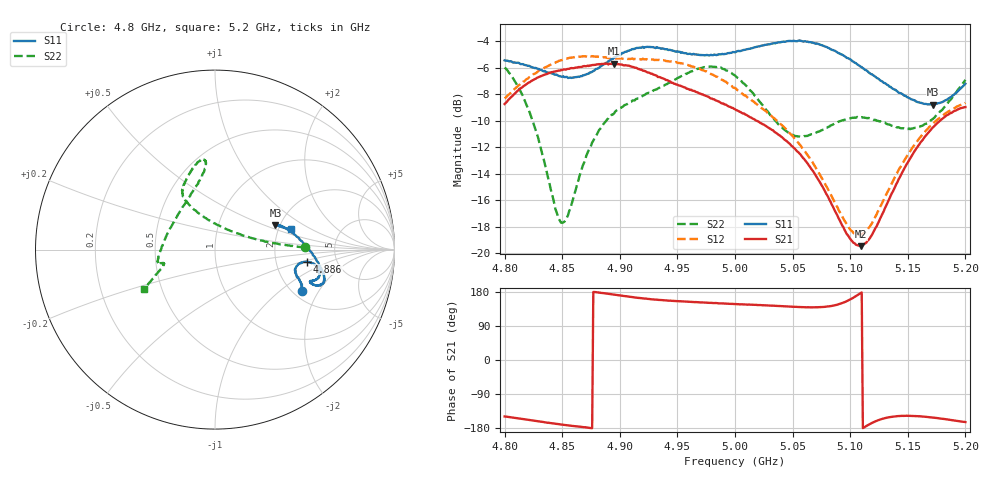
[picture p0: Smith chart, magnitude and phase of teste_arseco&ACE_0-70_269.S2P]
! Network Analyzer HP8722D
! Hewlett-Packard
! Data name: Linha & Wilkinson
! Saver's name: Rodrigo Anjos
! Comments: Teste da utilização de aquisição
! continua pelo VNA HP8722D
! Time and date: 8/5/2025 15:00
!  Frequency  S11  S21  S12  S22
# HZ  S  MA R 50
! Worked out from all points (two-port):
!   401 points, 4.8 GHz to 5.2 GHz, reference 50 ohm
!   highest |S21| = -5.68 dB at 4.895 GHz (marker M1); lowest = -19.5 dB at 5.109 GHz (marker M2)
!   |S21| within 3 dB of the highest: 4.801 GHz to 4.989 GHz (188 MHz wide, 3.84 % of centre)
!   lowest |S11| = -8.8 dB at 5.172 GHz (marker M3), VSWR 2.15, Z = 94.6 + j30 ohm
!   |S11| at or under -10 dB: nowhere
!   |S22| runs from -17.7 to -5.9 dB; largest |S21 - S12| = 1.1
!   S11 on the Smith chart (normalised r, x): 4.8 GHz: 2.24, -1.43; 4.886 GHz: 3.03, -0.55; 5.2 GHz: 2.33, +0.65
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4.8e9  0.5345 -25.2  0.3658 -149.1  0.3843 10.3  0.5017 1.4
4.812e9  0.5236 -22.1  0.4126 -154.0  0.4297 8.6  0.4227 2.7
4.823e9  0.5052 -20.5  0.4462 -158.9  0.4658 7.0  0.328 6.3
4.848e9  0.4652 -16.0  0.4887 -169.8  0.5324 3.1  0.1329 55.0
4.855e9  0.4586 -14.4  0.4964 -172.5  0.5441 1.9  0.1391 85.6
4.867e9  0.4657 -11.0  0.5049 -176.5  0.5524 0.3  0.2082 111.8
4.886e9  0.5167 -7.4  0.5183 176.4  0.5492 -0.9  0.3082 120.9
4.895e9  0.5478 -8.0  0.5198 172.4  0.5444 -1.0  0.337 121.1
4.913e9  0.5916 -11.1  0.5013 165.0  0.5413 -0.6  0.3776 118.3
4.934e9  0.5951 -15.6  0.4627 158.5  0.5368 -1.5  0.4204 112.5
4.975e9  0.5598 -18.6  0.3923 151.3  0.4861 -5.1  0.5045 99.0
5e9  0.5733 -19.4  0.3496 147.5  0.4202 -5.4  0.4689 96.5
5.018e9  0.5996 -19.5  0.3172 145.6  0.3673 -2.8  0.3907 103.4
5.044e9  0.6292 -17.5  0.2667 141.5  0.2949 2.9  0.29 131.3
5.067e9  0.623 -13.3  0.2063 139.1  0.2216 9.4  0.2814 164.6
5.098e9  0.5447 -2.6  0.117 156.7  0.1268 37.7  0.3215 -170.6
5.109e9  0.5059 2.4  0.1065 176.2  0.1175 59.3  0.3258 -167.5
5.118e9  0.4745 6.8  0.1158 -167.4  0.128 76.9  0.3216 -166.4
5.134e9  0.4251 14.6  0.1607 -150.9  0.176 94.8  0.3057 -165.6
5.154e9  0.3804 21.1  0.236 -147.7  0.2503 101.4  0.2956 -164.2
5.172e9  0.3641 22.2  0.299 -152.0  0.3093 102.4  0.3221 -160.2
5.2e9  0.4361 14.9  0.3561 -163.8  0.3696 102.8  0.4512 -150.8
